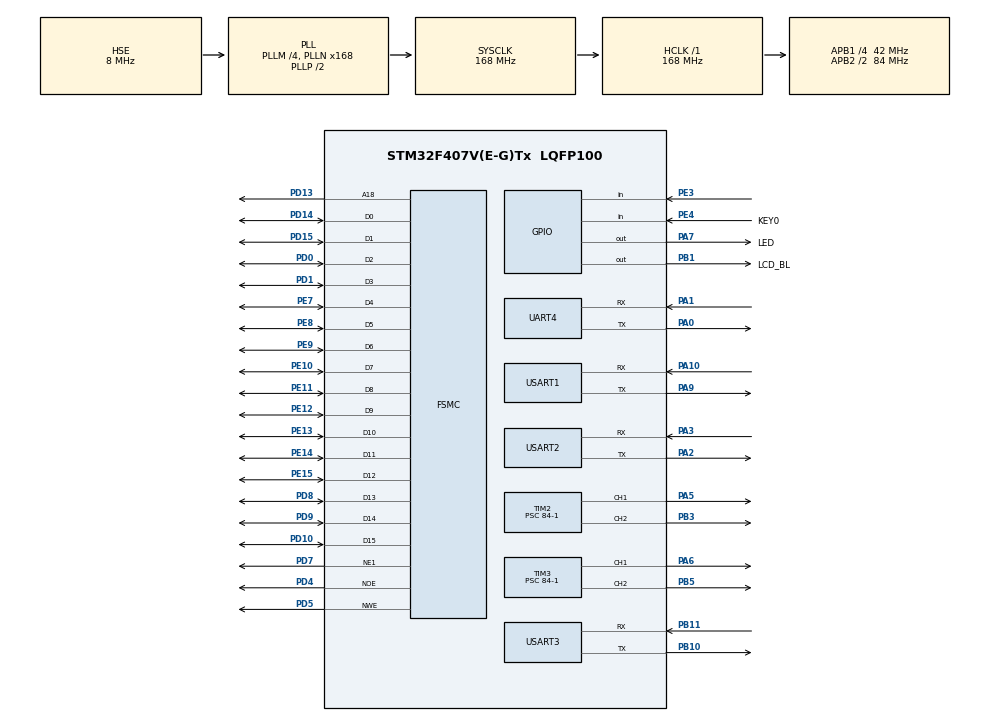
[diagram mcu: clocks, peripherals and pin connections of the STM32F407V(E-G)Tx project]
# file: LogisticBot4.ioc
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FSMC.BusTurnAroundDuration1=0
FSMC.DataSetupTime1=60
FSMC.ExtendedAddressSetupTime1=9
FSMC.ExtendedBusTurnAroundDuration1=0
FSMC.ExtendedDataSetupTime1=8
FSMC.ExtendedMode1=FSMC_EXTENDED_MODE_ENABLE
Mcu.Family=STM32F4
Mcu.Name=STM32F407V(E-G)Tx
Mcu.Package=LQFP100
NVIC.FLASH_IRQn=true\:0\:0\:false\:false\:true\:true\:true\:true
NVIC.FPU_IRQn=true\:0\:0\:false\:false\:true\:true\:false\:true
NVIC.PriorityGroup=NVIC_PRIORITYGROUP_4
NVIC.RCC_IRQn=true\:0\:0\:true\:false\:true\:true\:false\:true
NVIC.TIM2_IRQn=true\:4\:0\:true\:false\:true\:true\:true\:true
NVIC.TIM3_IRQn=true\:4\:0\:true\:false\:true\:true\:true\:true
NVIC.UART4_IRQn=true\:2\:0\:true\:false\:true\:true\:true\:true
NVIC.USART1_IRQn=true\:2\:0\:true\:false\:true\:true\:true\:true
NVIC.USART2_IRQn=true\:2\:0\:true\:false\:true\:true\:true\:true
NVIC.USART3_IRQn=true\:2\:0\:true\:false\:true\:true\:true\:true
PA0-WKUP.Mode=Asynchronous
PA0-WKUP.Signal=UART4_TX
PA1.Mode=Asynchronous
PA1.Signal=UART4_RX
PA10.GPIO_ModeDefaultPP=GPIO_MODE_AF_PP
PA10.Mode=Asynchronous
PA10.Signal=USART1_RX
PA13.Mode=Serial_Wire
PA13.Signal=SYS_JTMS-SWDIO
PA14.Mode=Serial_Wire
PA14.Signal=SYS_JTCK-SWCLK
PA2.Mode=Asynchronous
PA2.Signal=USART2_TX
PA3.Mode=Asynchronous
PA3.Signal=USART2_RX
PA5.Signal=S_TIM2_CH1_ETR
PA6.Signal=S_TIM3_CH1
PA7.GPIO_Label=LED
PA7.GPIO_PuPd=GPIO_PULLUP
PA7.GPIO_Speed=GPIO_SPEED_FREQ_HIGH
PA7.PinState=GPIO_PIN_SET
PA7.Signal=GPIO_Output
PA9.GPIO_Speed=GPIO_SPEED_FREQ_VERY_HIGH
PA9.Mode=Asynchronous
PA9.Signal=USART1_TX
PB1.GPIO_Label=LCD_BL
PB1.GPIO_PuPd=GPIO_PULLUP
PB1.GPIO_Speed=GPIO_SPEED_FREQ_HIGH
PB1.Signal=GPIO_Output
PB10.Mode=Asynchronous
PB10.Signal=USART3_TX
PB11.Mode=Asynchronous
PB11.Signal=USART3_RX
PB3.Signal=S_TIM2_CH2
PB5.Signal=S_TIM3_CH2
PC14-OSC32_IN.Mode=LSE-External-Oscillator
PC14-OSC32_IN.Signal=RCC_OSC32_IN
PC15-OSC32_OUT.Mode=LSE-External-Oscillator
PC15-OSC32_OUT.Signal=RCC_OSC32_OUT
PD0.Mode=16b-d1
PD0.Signal=FSMC_D2
PD1.Mode=16b-d1
PD1.Signal=FSMC_D3
PD10.Mode=16b-d1
PD10.Signal=FSMC_D15
PD13.Mode=A18_1
PD13.Signal=FSMC_A18
PD14.Mode=16b-d1
PD14.Signal=FSMC_D0
PD15.Mode=16b-d1
PD15.Signal=FSMC_D1
PD4.Mode=Lcd1
PD4.Signal=FSMC_NOE
PD5.Mode=Lcd1
PD5.Signal=FSMC_NWE
PD7.Mode=NorPsramChipSelect1_1
PD7.Signal=FSMC_NE1
PD8.Mode=16b-d1
PD8.Signal=FSMC_D13
PD9.Mode=16b-d1
PD9.Signal=FSMC_D14
PE10.Mode=16b-d1
PE10.Signal=FSMC_D7
PE11.Mode=16b-d1
PE11.Signal=FSMC_D8
PE12.Mode=16b-d1
PE12.Signal=FSMC_D9
PE13.Mode=16b-d1
PE13.Signal=FSMC_D10
PE14.Mode=16b-d1
PE14.Signal=FSMC_D11
PE15.Mode=16b-d1
PE15.Signal=FSMC_D12
PE3.Signal=GPIO_Input
PE4.GPIO_Label=KEY0
PE4.GPIO_PuPd=GPIO_PULLUP
PE4.Signal=GPIO_Input
PE7.Mode=16b-d1
PE7.Signal=FSMC_D4
PE8.Mode=16b-d1
PE8.Signal=FSMC_D5
PE9.Mode=16b-d1
PE9.Signal=FSMC_D6
PH0-OSC_IN.Mode=HSE-External-Oscillator
PH0-OSC_IN.Signal=RCC_OSC_IN
PH1-OSC_OUT.Mode=HSE-External-Oscillator
PH1-OSC_OUT.Signal=RCC_OSC_OUT
ProjectManager.HeapSize=0x200
ProjectManager.StackSize=0x400
ProjectManager.TargetToolchain=MDK-ARM V5.32
RCC.48MHZClocksFreq_Value=84000000
RCC.AHBFreq_Value=168000000
RCC.APB1CLKDivider=RCC_HCLK_DIV4
RCC.APB1Freq_Value=42000000
RCC.APB1TimFreq_Value=84000000
RCC.APB2CLKDivider=RCC_HCLK_DIV2
RCC.APB2Freq_Value=84000000
RCC.APB2TimFreq_Value=168000000
RCC.CortexFreq_Value=168000000
RCC.HCLKFreq_Value=168000000
RCC.HSE_VALUE=8000000
RCC.HSI_VALUE=16000000
RCC.PLLM=4
RCC.PLLN=168
RCC.PLLSourceVirtual=RCC_PLLSOURCE_HSE
RCC.SYSCLKFreq_VALUE=168000000
RCC.SYSCLKSource=RCC_SYSCLKSOURCE_PLLCLK
RCC.VCOOutputFreq_Value=336000000
SH.S_TIM2_CH1_ETR.0=TIM2_CH1,PWM Generation1 CH1
SH.S_TIM2_CH2.0=TIM2_CH2,PWM Generation2 CH2
SH.S_TIM3_CH1.0=TIM3_CH1,PWM Generation1 CH1
SH.S_TIM3_CH2.0=TIM3_CH2,PWM Generation2 CH2
TIM2.AutoReloadPreload=TIM_AUTORELOAD_PRELOAD_ENABLE
TIM2.Channel-PWM\ Generation1\ CH1=TIM_CHANNEL_1
TIM2.Channel-PWM\ Generation2\ CH2=TIM_CHANNEL_2
TIM2.Period=20000-1
TIM2.Prescaler=84-1
TIM3.AutoReloadPreload=TIM_AUTORELOAD_PRELOAD_ENABLE
TIM3.Channel-PWM\ Generation1\ CH1=TIM_CHANNEL_1
TIM3.Channel-PWM\ Generation2\ CH2=TIM_CHANNEL_2
TIM3.Period=20000-1
TIM3.Prescaler=84-1
UART4.VirtualMode=Asynchronous
USART1.VirtualMode=VM_ASYNC
USART2.VirtualMode=VM_ASYNC
USART3.VirtualMode=VM_ASYNC
VP_TIM2_VS_ClockSourceINT.Mode=Internal
VP_TIM3_VS_ClockSourceINT.Mode=Internal
board=custom

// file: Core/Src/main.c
/* USER CODE BEGIN Header */
/**
 * @file main.c
 * @author Huang Zifeng (Mitcher2022@outlook.com)
 * @brief Main body of the program.
 * @version 0.5
 * @date 2023-01-02
 *
 * @copyright Copyright (c) 2023
 *
 */
/* USER CODE END Header */
#include "main.h"
#include "tim.h"
#include "usart.h"
#include "gpio.h"
#include "fsmc.h"

/* USER CODE BEGIN Includes */
#include <math.h>
#include <string.h>
#include <stdbool.h>
#include "motor.h"
#include "servo.h"
#include "app_motor.h"
#include "app_lineWalking.h"
#include "action.h"
#include "lcd.h"
#include "openmv.h"

/* USER CODE END Includes */

/* USER CODE BEGIN PD */
#define millis() HAL_GetTick()
#define PI acos(-1.0)
#define MAX_SIZE 20
/* USER CODE END PD */

/* USER CODE BEGIN PV */

uint32_t time1 = 0;
uint32_t time2 = 0;
volatile float vx_action = 0, vy_action = 0, vx_car = 0, vy_car = 0, w = 0;
float target_posx, target_posy, target_angle;
float car_position[3] = {};
uint8_t grab_seq[3] = {1, 2, 3};
uint8_t color_seq[6] = {2, 3, 1, 1, 2, 3};

// flag variables
bool action_flag = false;
bool stop_flag = false;
bool x_flag = false;
bool y_flag = false;
bool angle_flag = false;
bool total_flag = false;
bool photo_flag = true;
bool key1 = false; // K1
bool key2 = false; // K0
bool color_flag = true;

// temporary variables
char x_str[MAX_SIZE] = {};
char y_str[MAX_SIZE] = {};
char angle_str[MAX_SIZE] = {};
char grab1_str[MAX_SIZE] = {};
char grab2_str[MAX_SIZE] = {};
char grab3_str[MAX_SIZE] = {};
uint8_t buffer_action[56];
uint8_t buffer_openmv;
uint8_t startOpenmv = 1;

/* USER CODE END PV */

void SystemClock_Config(void);

int main(void)
{

  /* MCU Configuration--------------------------------------------------------*/

  /* Reset of all peripherals, Initializes the Flash interface and the Systick. */
  HAL_Init();

  /* Configure the system clock */
  SystemClock_Config();

  /* Initialize all configured peripherals */
  MX_GPIO_Init();
  MX_USART1_UART_Init();
  MX_TIM2_Init();
  MX_USART2_UART_Init();
  MX_UART4_Init();
  MX_USART3_UART_Init();
  MX_FSMC_Init();
  MX_TIM3_Init();
  /* USER CODE BEGIN 2 */
  HAL_GPIO_WritePin(LCD_BL_GPIO_Port, LCD_BL_Pin, 1);
  LCD_Init();
  LCD_Clear(RED);
  HAL_TIM_Base_Start_IT(&htim2);
  HAL_TIM_Base_Start_IT(&htim3);
  HAL_UART_Receive_IT(&huart3, (uint8_t *)buffer_action, sizeof(buffer_action));
  /*Servo Init*/
  HAL_TIM_PWM_Start(&htim2, TIM_CHANNEL_1);
  HAL_TIM_PWM_Start(&htim2, TIM_CHANNEL_2);
  HAL_TIM_PWM_Start(&htim3, TIM_CHANNEL_1);
  HAL_TIM_PWM_Start(&htim3, TIM_CHANNEL_2);
	bool servo_init_flag = 1;
  /* USER CODE END 2 */

  /* Infinite loop */
  /* USER CODE BEGIN WHILE */
  while (1)
  {
    if (HAL_GPIO_ReadPin(KEY0_GPIO_Port, KEY0_Pin) == 0)
    {
      HAL_Delay(100);
      if (HAL_GPIO_ReadPin(KEY0_GPIO_Port, KEY0_Pin) == 0)
      {
        key1 = !key1;
      }
    }
    if (key1)
    {
			drive_wheels(&huart1, 1, )
			key1 = !key1;
    }
    else
    {
      car_stop();
    }
		//car_position[0]=car_position[0]+1;
    sprintf(x_str, "X %.1f", car_position[0]);
    sprintf(y_str, "Y %.1f", car_position[1]);
    sprintf(angle_str, "Angle %.1f", car_position[2]);
    sprintf(grab1_str, "%u", grab_seq[0]);
    sprintf(grab2_str, "%u", grab_seq[1]);
    sprintf(grab3_str, "%u", grab_seq[2]);
    LCD_ShowString(5, 5, 240, 50, 32, x_str);
    LCD_ShowString(5, 55, 240, 50, 32, y_str);
    LCD_ShowString(5, 105, 240, 50, 32, angle_str);
    LCD_ShowString(5, 155, 240, 50, 32, grab1_str);
    LCD_ShowString(5, 205, 240, 50, 32, grab2_str);
    LCD_ShowString(5, 255, 240, 50, 32, grab3_str);
    HAL_GPIO_TogglePin(LED_GPIO_Port, LED_Pin);
    HAL_Delay(20);

    /* USER CODE END WHILE */

  }
}
void SystemClock_Config(void)
{
  RCC_OscInitTypeDef RCC_OscInitStruct = {0};
  RCC_ClkInitTypeDef RCC_ClkInitStruct = {0};

  /** Configure the main internal regulator output voltage
   */
  __HAL_RCC_PWR_CLK_ENABLE();
  __HAL_PWR_VOLTAGESCALING_CONFIG(PWR_REGULATOR_VOLTAGE_SCALE1);

  /** Initializes the RCC Oscillators according to the specified parameters
   * in the RCC_OscInitTypeDef structure.
   */
  RCC_OscInitStruct.OscillatorType = RCC_OSCILLATORTYPE_HSE;
  RCC_OscInitStruct.HSEState = RCC_HSE_ON;
  RCC_OscInitStruct.PLL.PLLState = RCC_PLL_ON;
  RCC_OscInitStruct.PLL.PLLSource = RCC_PLLSOURCE_HSE;
  RCC_OscInitStruct.PLL.PLLM = 4;
  RCC_OscInitStruct.PLL.PLLN = 168;
  RCC_OscInitStruct.PLL.PLLP = RCC_PLLP_DIV2;
  RCC_OscInitStruct.PLL.PLLQ = 4;
  if (HAL_RCC_OscConfig(&RCC_OscInitStruct) != HAL_OK)
  {
    Error_Handler();
  }

  /** Initializes the CPU, AHB and APB buses clocks
   */
  RCC_ClkInitStruct.ClockType = RCC_CLOCKTYPE_HCLK | RCC_CLOCKTYPE_SYSCLK | RCC_CLOCKTYPE_PCLK1 | RCC_CLOCKTYPE_PCLK2;
  RCC_ClkInitStruct.SYSCLKSource = RCC_SYSCLKSOURCE_PLLCLK;
  RCC_ClkInitStruct.AHBCLKDivider = RCC_SYSCLK_DIV1;
  RCC_ClkInitStruct.APB1CLKDivider = RCC_HCLK_DIV4;
  RCC_ClkInitStruct.APB2CLKDivider = RCC_HCLK_DIV2;

  if (HAL_RCC_ClockConfig(&RCC_ClkInitStruct, FLASH_LATENCY_5) != HAL_OK)
  {
    Error_Handler();
  }
}

/* USER CODE BEGIN 4 */

// interrupt of TIM
void HAL_TIM_PeriodElapsedCallback(TIM_HandleTypeDef *htim)
{
  if (htim == &htim2)
  {
    if (action_flag)
    {
      if (fabs(car_position[0] - target_posx) < 6)
        x_flag = true;
      else
        x_flag = false;
      if (fabs(car_position[1] - target_posy) < 6)
        y_flag = true;
      else
        y_flag = false;
      if (fabs(w_loss(target_angle, car_position[2])) < 3)
        angle_flag = true;
      else
        angle_flag = false;

      total_flag = x_flag && y_flag && angle_flag;
      vx_action = pid_x(target_posx);
      vy_action = pid_y(target_posy);
      w = pid_angle(target_angle);
      vx_car = vx_action * cos(car_position[2] * PI / 180) + vy_action * sin(car_position[2] * PI / 180);
      vy_car = vy_action * cos(car_position[2] * PI / 180) - vx_action * sin(car_position[2] * PI / 180);
    }
    drive_speed(vx_car, vy_car, w);
  }
}
// interrupt of serials

/* USER CODE END 4 */

void Error_Handler(void)
{
  __disable_irq();
  while (1)
  {
  }
}
